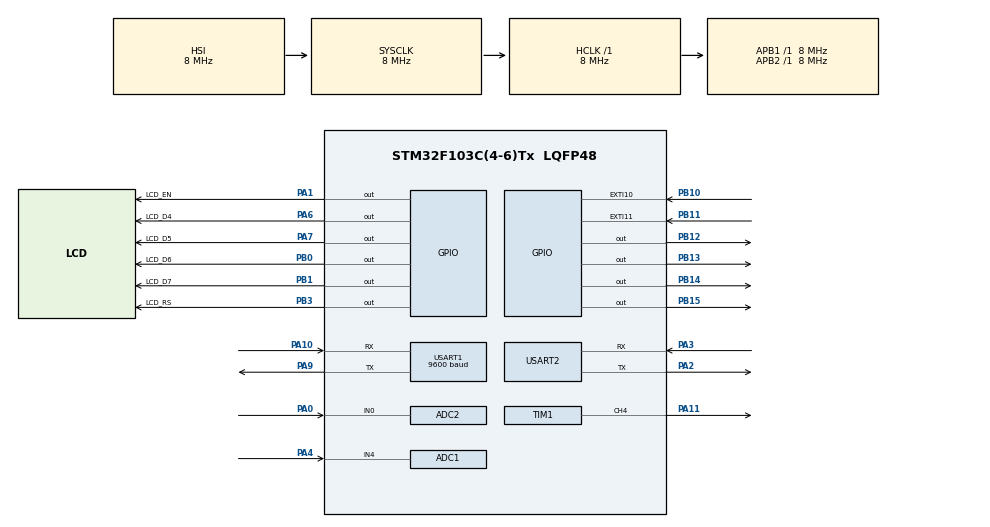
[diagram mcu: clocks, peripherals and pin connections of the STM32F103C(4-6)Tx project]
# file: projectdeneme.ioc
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ADC1.Channel-4\#ChannelRegularConversion=ADC_CHANNEL_4
ADC1.ContinuousConvMode=DISABLE
ADC1.NbrOfConversion=1
ADC1.NbrOfConversionFlag=1
ADC1.Rank-4\#ChannelRegularConversion=1
ADC1.SamplingTime-4\#ChannelRegularConversion=ADC_SAMPLETIME_1CYCLE_5
ADC1.master=1
ADC2.Channel-1\#ChannelRegularConversion=ADC_CHANNEL_0
ADC2.ContinuousConvMode=DISABLE
ADC2.NbrOfConversionFlag=1
ADC2.Rank-1\#ChannelRegularConversion=1
ADC2.SamplingTime-1\#ChannelRegularConversion=ADC_SAMPLETIME_1CYCLE_5
Dma.Request0=USART1_TX
Dma.USART1_TX.0.Direction=DMA_MEMORY_TO_PERIPH
Dma.USART1_TX.0.Instance=DMA1_Channel4
Dma.USART1_TX.0.MemDataAlignment=DMA_MDATAALIGN_BYTE
Dma.USART1_TX.0.MemInc=DMA_MINC_ENABLE
Dma.USART1_TX.0.Mode=DMA_NORMAL
Dma.USART1_TX.0.PeriphDataAlignment=DMA_PDATAALIGN_BYTE
Dma.USART1_TX.0.PeriphInc=DMA_PINC_DISABLE
Dma.USART1_TX.0.Priority=DMA_PRIORITY_LOW
Mcu.Family=STM32F1
Mcu.Name=STM32F103C(4-6)Tx
Mcu.Package=LQFP48
NVIC.ADC1_2_IRQn=true\:0\:0\:false\:false\:true\:true\:true\:true
NVIC.DMA1_Channel4_IRQn=true\:0\:0\:false\:false\:true\:false\:true\:true
NVIC.EXTI15_10_IRQn=true\:0\:0\:false\:false\:true\:true\:true\:true
NVIC.PriorityGroup=NVIC_PRIORITYGROUP_4
NVIC.TIM2_IRQn=true\:0\:0\:false\:false\:true\:true\:true\:true
NVIC.USART1_IRQn=true\:0\:0\:false\:false\:true\:true\:true\:true
NVIC.USART2_IRQn=true\:0\:0\:false\:false\:true\:true\:true\:true
PA0-WKUP.Signal=ADCx_IN0
PA1.GPIO_Label=LCD_EN
PA1.Signal=GPIO_Output
PA10.Mode=Asynchronous
PA10.Signal=USART1_RX
PA11.Signal=S_TIM1_CH4
PA13.Mode=Serial_Wire
PA13.Signal=SYS_JTMS-SWDIO
PA14.Mode=Serial_Wire
PA14.Signal=SYS_JTCK-SWCLK
PA2.Mode=Asynchronous
PA2.Signal=USART2_TX
PA3.Mode=Asynchronous
PA3.Signal=USART2_RX
PA4.Signal=ADCx_IN4
PA6.GPIO_Label=LCD_D4
PA6.Signal=GPIO_Output
PA7.GPIO_Label=LCD_D5
PA7.Signal=GPIO_Output
PA9.Mode=Asynchronous
PA9.Signal=USART1_TX
PB0.GPIO_Label=LCD_D6
PB0.Signal=GPIO_Output
PB1.GPIO_Label=LCD_D7
PB1.Signal=GPIO_Output
PB10.Signal=GPXTI10
PB11.Signal=GPXTI11
PB12.GPIO_ModeDefaultOutputPP=GPIO_MODE_OUTPUT_PP
PB12.Signal=GPIO_Output
PB13.GPIO_ModeDefaultOutputPP=GPIO_MODE_OUTPUT_PP
PB13.Signal=GPIO_Output
PB14.GPIO_ModeDefaultOutputPP=GPIO_MODE_OUTPUT_PP
PB14.Signal=GPIO_Output
PB15.GPIO_ModeDefaultOutputPP=GPIO_MODE_OUTPUT_PP
PB15.Signal=GPIO_Output
PB3.GPIO_Label=LCD_RS
PB3.Signal=GPIO_Output
PD0-OSC_IN.Mode=HSE-External-Oscillator
PD0-OSC_IN.Signal=RCC_OSC_IN
PD1-OSC_OUT.Mode=HSE-External-Oscillator
PD1-OSC_OUT.Signal=RCC_OSC_OUT
ProjectManager.HeapSize=0x200
ProjectManager.StackSize=0x400
ProjectManager.TargetToolchain=MDK-ARM V5.32
RCC.AHBFreq_Value=8000000
RCC.APB1Freq_Value=8000000
RCC.APB1TimFreq_Value=8000000
RCC.APB2Freq_Value=8000000
RCC.APB2TimFreq_Value=8000000
RCC.HCLKFreq_Value=8000000
RCC.SYSCLKFreq_VALUE=8000000
RCC.USBFreq_Value=8000000
SH.ADCx_IN0.0=ADC2_IN0,IN0
SH.ADCx_IN4.0=ADC1_IN4,IN4
SH.S_TIM1_CH4.0=TIM1_CH4,PWM Generation4 CH4
TIM1.Channel-PWM\ Generation4\ CH4=TIM_CHANNEL_4
TIM1.Period=0xFFFF
TIM1.Prescaler=21
TIM1.Pulse-PWM\ Generation4\ CH4=50
TIM2.AutoReloadPreload=TIM_AUTORELOAD_PRELOAD_ENABLE
TIM2.Period=63999
TIM2.Prescaler=124
TIM2.TIM_MasterOutputTrigger=TIM_TRGO_ENABLE
USART1.BaudRate=9600
USART1.VirtualMode=VM_ASYNC
USART2.VirtualMode=VM_ASYNC
VP_TIM1_VS_ClockSourceINT.Mode=Internal
VP_TIM2_VS_ClockSourceINT.Mode=Internal
board=custom

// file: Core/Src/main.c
/* USER CODE BEGIN Header */
/**
  ******************************************************************************
  * @file           : main.c
  * @brief          : Main program body
  ******************************************************************************
  * @attention
  *
  * Copyright (c) 2024 STMicroelectronics.
  * All rights reserved.
  *
  * This software is licensed under terms that can be found in the LICENSE file
  * in the root directory of this software component.
  * If no LICENSE file comes with this software, it is provided AS-IS.
  *
  ******************************************************************************
  */
/* USER CODE END Header */
#include "main.h"

/* USER CODE BEGIN Includes */
#include "stdlib.h"
#include <stdio.h> // sprintf komutunu kullanabilmek için
#include "LCD.h"
#include <string.h>
#include <math.h>
#include <stdbool.h>
/* USER CODE END Includes */

/* USER CODE BEGIN PTD */
uint16_t leds[] = {GPIO_PIN_12, GPIO_PIN_13, GPIO_PIN_14, GPIO_PIN_15}; //GPIO PINS THAT HAVE COLORS
/* USER CODE END PTD */

/* USER CODE BEGIN PD */

#define BUTTON_PIN GPIO_PIN_11 //PLAYER 1
#define BUTTON_PIN_2 GPIO_PIN_10 //PLAYER 2
#define TIM2_MAX_PERIOD 63999
#define POTENTIOMETER_MIN_VALUE 0
#define POTENTIOMETER_MAX_VALUE 4095
#define UART_BUFFER_SIZE 100
/* USER CODE END PD */

ADC_HandleTypeDef hadc1;
ADC_HandleTypeDef hadc2;

TIM_HandleTypeDef htim1;
TIM_HandleTypeDef htim2;

UART_HandleTypeDef huart1;
UART_HandleTypeDef huart2;
DMA_HandleTypeDef hdma_usart1_tx;

/* USER CODE BEGIN PV */
static uint16_t previous_adc_value = 0xFFFF; // TO ARRANGE MODS(EASY-NORMAL-HARD)
static uint16_t current_prescaler = 0xFFFF;
static uint32_t current_period = 0xFFFFFFFF;
/* USER CODE END PV */

void SystemClock_Config(void);
static void MX_GPIO_Init(void);
static void MX_DMA_Init(void);
static void MX_TIM2_Init(void);
static void MX_ADC1_Init(void);
static void MX_ADC2_Init(void);
static void MX_TIM1_Init(void);
static void MX_USART1_UART_Init(void);
static void MX_USART2_UART_Init(void);
/* USER CODE BEGIN PFP */

char *Game_Over = {"   Game over!!!\r\n"}; //LCD PRINT

/* USER CODE END PFP */

/* USER CODE BEGIN 0 */

char colors[4][16] = {
    "  Red   ",   // 0. eleman
    "  Purple",     // 1. eleman
    "  Green ",      // 2. eleman
    "  Blue  ",      // 3. eleman

};

bool is_array_Not_Empty(uint8_t array[], size_t size) { //TO UNDERSTAND GIVEN INPUT IS NULL
    for (size_t i = 0; i < size; i++) {
        if (array[i] != 0) {
            return true;
        }
    }
    return false;
}

	//FOR USART_DMA TRANSMISSION_AND_RECEIVE
	uint8_t USER1[10];
	uint8_t USER2[10];
	char transmitBuffer[50];
	uint8_t *Welcome_msg = {"Write name of player1.\r\n"};
	uint8_t *new_line = {"\r\n"};
	uint8_t *Welcome_msg2 = {"Write name of player2.\r\n"};
	uint8_t *No_Player={"Player names cannot be null!.\r\n"};

	//all of them for synchronization of game(score adding, subtracting,printing winner)
	int colorNumber_keeper;
	int ledNumber_keeper;
	int score;
	int score2;
	int flag;
	char score_str[20];
	char score_str2[20];
	int game_time=0;
	int temp_game_time=0;
	char *WinnerText = {" Plyr1 won:\r\n"};
	char *WinnerText2 = {" Plyr2 won:\r\n"};
	char *draw = {" Draw\r\n"};
	char *Equal = {"Scores are equal!(%d)\r\n"};
	int winnerScore;
	char winner[40];

	//FOR TEMPERATURE
	float voltage;
	float temperature;
	float temperature2;
	char yazi[32] = " ";
	int strike = 0;//TO INDICATE 3 SCORE FOR PLAYER1
	int strike2 = 0;//TO INDICATE 3 SCORE FOR PLAYER2

/* USER CODE END 0 */

int main(void)
{

  /* MCU Configuration--------------------------------------------------------*/

  /* Reset of all peripherals, Initializes the Flash interface and the Systick. */
  HAL_Init();

  /* Configure the system clock */
  SystemClock_Config();

  /* Initialize all configured peripherals */
  MX_GPIO_Init();
  MX_DMA_Init();
  MX_TIM2_Init();
  MX_ADC1_Init();
  MX_ADC2_Init();
  MX_TIM1_Init();
  MX_USART1_UART_Init();
  MX_USART2_UART_Init();
  /* USER CODE BEGIN 2 */

		//USER1 EMPTY OR NOT
		while(!is_array_Not_Empty(USER1, sizeof(USER1))){

		HAL_UART_Transmit(&huart1, No_Player, 30, 2000);
		HAL_UART_Transmit(&huart1, Welcome_msg, 25, 5000);
		HAL_UART_Receive(&huart1, (uint8_t*)USER1, 25, 5000);
		HAL_UART_Transmit(&huart1, new_line, 2, 1);

	}
	//USER1 EMPTY OR NOT
	while(!is_array_Not_Empty(USER2, sizeof(USER2))){
		HAL_UART_Transmit(&huart1, No_Player, 30, 2000);
		HAL_UART_Transmit(&huart1, Welcome_msg2, 25, 5000);
		HAL_UART_Receive(&huart1, (uint8_t*)USER2, 35, 5000);
		HAL_UART_Transmit(&huart1, new_line, 2, 1);

	}

	HAL_TIM_Base_Start_IT(&htim2);
	MX_ADC1_Init();
	HAL_ADC_Start_IT(&hadc1);
	HAL_ADC_Start_IT(&hadc2);
	lcd_init(_LCD_4BIT, _LCD_FONT_5x10, _LCD_2LINE);//LCD INIT

	//FOR BUZZER
	HAL_TIM_PWM_Start(&htim1,TIM_CHANNEL_4);
	HAL_ADCEx_Calibration_Start(&hadc2);

  /* USER CODE END 2 */

  /* Infinite loop */
  while (1)
  {

  }
}

void SystemClock_Config(void)
{
  RCC_OscInitTypeDef RCC_OscInitStruct = {0};
  RCC_ClkInitTypeDef RCC_ClkInitStruct = {0};
  RCC_PeriphCLKInitTypeDef PeriphClkInit = {0};

  /** Initializes the RCC Oscillators according to the specified parameters
  * in the RCC_OscInitTypeDef structure.
  */
  RCC_OscInitStruct.OscillatorType = RCC_OSCILLATORTYPE_HSI;
  RCC_OscInitStruct.HSIState = RCC_HSI_ON;
  RCC_OscInitStruct.HSICalibrationValue = RCC_HSICALIBRATION_DEFAULT;
  RCC_OscInitStruct.PLL.PLLState = RCC_PLL_NONE;
  if (HAL_RCC_OscConfig(&RCC_OscInitStruct) != HAL_OK)
  {
    Error_Handler();
  }

  /** Initializes the CPU, AHB and APB buses clocks
  */
  RCC_ClkInitStruct.ClockType = RCC_CLOCKTYPE_HCLK|RCC_CLOCKTYPE_SYSCLK
                              |RCC_CLOCKTYPE_PCLK1|RCC_CLOCKTYPE_PCLK2;
  RCC_ClkInitStruct.SYSCLKSource = RCC_SYSCLKSOURCE_HSI;
  RCC_ClkInitStruct.AHBCLKDivider = RCC_SYSCLK_DIV1;
  RCC_ClkInitStruct.APB1CLKDivider = RCC_HCLK_DIV1;
  RCC_ClkInitStruct.APB2CLKDivider = RCC_HCLK_DIV1;

  if (HAL_RCC_ClockConfig(&RCC_ClkInitStruct, FLASH_LATENCY_0) != HAL_OK)
  {
    Error_Handler();
  }
  PeriphClkInit.PeriphClockSelection = RCC_PERIPHCLK_ADC;
  PeriphClkInit.AdcClockSelection = RCC_ADCPCLK2_DIV2;
  if (HAL_RCCEx_PeriphCLKConfig(&PeriphClkInit) != HAL_OK)
  {
    Error_Handler();
  }
}

static void MX_ADC1_Init(void)
{

  ADC_ChannelConfTypeDef sConfig = {0};

  /** Common config
  */
  hadc1.Instance = ADC1;
  hadc1.Init.ScanConvMode = ADC_SCAN_DISABLE;
  hadc1.Init.ContinuousConvMode = DISABLE;
  hadc1.Init.DiscontinuousConvMode = DISABLE;
  hadc1.Init.ExternalTrigConv = ADC_SOFTWARE_START;
  hadc1.Init.DataAlign = ADC_DATAALIGN_RIGHT;
  hadc1.Init.NbrOfConversion = 1;
  if (HAL_ADC_Init(&hadc1) != HAL_OK)
  {
    Error_Handler();
  }

  /** Configure Regular Channel
  */
  sConfig.Channel = ADC_CHANNEL_4;
  sConfig.Rank = ADC_REGULAR_RANK_1;
  sConfig.SamplingTime = ADC_SAMPLETIME_1CYCLE_5;
  if (HAL_ADC_ConfigChannel(&hadc1, &sConfig) != HAL_OK)
  {
    Error_Handler();
  }

}

static void MX_ADC2_Init(void)
{

  ADC_ChannelConfTypeDef sConfig = {0};

  /** Common config
  */
  hadc2.Instance = ADC2;
  hadc2.Init.ScanConvMode = ADC_SCAN_DISABLE;
  hadc2.Init.ContinuousConvMode = DISABLE;
  hadc2.Init.DiscontinuousConvMode = DISABLE;
  hadc2.Init.ExternalTrigConv = ADC_SOFTWARE_START;
  hadc2.Init.DataAlign = ADC_DATAALIGN_RIGHT;
  hadc2.Init.NbrOfConversion = 1;
  if (HAL_ADC_Init(&hadc2) != HAL_OK)
  {
    Error_Handler();
  }

  /** Configure Regular Channel
  */
  sConfig.Channel = ADC_CHANNEL_0;
  sConfig.Rank = ADC_REGULAR_RANK_1;
  sConfig.SamplingTime = ADC_SAMPLETIME_1CYCLE_5;
  if (HAL_ADC_ConfigChannel(&hadc2, &sConfig) != HAL_OK)
  {
    Error_Handler();
  }

}

static void MX_TIM1_Init(void)
{

  TIM_ClockConfigTypeDef sClockSourceConfig = {0};
  TIM_MasterConfigTypeDef sMasterConfig = {0};
  TIM_OC_InitTypeDef sConfigOC = {0};
  TIM_BreakDeadTimeConfigTypeDef sBreakDeadTimeConfig = {0};

  htim1.Instance = TIM1;
  htim1.Init.Prescaler = 21;
  htim1.Init.CounterMode = TIM_COUNTERMODE_UP;
  htim1.Init.Period = 0xFFFF;
  htim1.Init.ClockDivision = TIM_CLOCKDIVISION_DIV1;
  htim1.Init.RepetitionCounter = 0;
  htim1.Init.AutoReloadPreload = TIM_AUTORELOAD_PRELOAD_DISABLE;
  if (HAL_TIM_Base_Init(&htim1) != HAL_OK)
  {
    Error_Handler();
  }
  sClockSourceConfig.ClockSource = TIM_CLOCKSOURCE_INTERNAL;
  if (HAL_TIM_ConfigClockSource(&htim1, &sClockSourceConfig) != HAL_OK)
  {
    Error_Handler();
  }
  if (HAL_TIM_PWM_Init(&htim1) != HAL_OK)
  {
    Error_Handler();
  }
  sMasterConfig.MasterOutputTrigger = TIM_TRGO_RESET;
  sMasterConfig.MasterSlaveMode = TIM_MASTERSLAVEMODE_DISABLE;
  if (HAL_TIMEx_MasterConfigSynchronization(&htim1, &sMasterConfig) != HAL_OK)
  {
    Error_Handler();
  }
  sConfigOC.OCMode = TIM_OCMODE_PWM1;
  sConfigOC.Pulse = 50;
  sConfigOC.OCPolarity = TIM_OCPOLARITY_HIGH;
  sConfigOC.OCFastMode = TIM_OCFAST_DISABLE;
  sConfigOC.OCIdleState = TIM_OCIDLESTATE_RESET;
  sConfigOC.OCNIdleState = TIM_OCNIDLESTATE_RESET;
  if (HAL_TIM_PWM_ConfigChannel(&htim1, &sConfigOC, TIM_CHANNEL_4) != HAL_OK)
  {
    Error_Handler();
  }
  sBreakDeadTimeConfig.OffStateRunMode = TIM_OSSR_DISABLE;
  sBreakDeadTimeConfig.OffStateIDLEMode = TIM_OSSI_DISABLE;
  sBreakDeadTimeConfig.LockLevel = TIM_LOCKLEVEL_OFF;
  sBreakDeadTimeConfig.DeadTime = 0;
  sBreakDeadTimeConfig.BreakState = TIM_BREAK_DISABLE;
  sBreakDeadTimeConfig.BreakPolarity = TIM_BREAKPOLARITY_HIGH;
  sBreakDeadTimeConfig.AutomaticOutput = TIM_AUTOMATICOUTPUT_DISABLE;
  if (HAL_TIMEx_ConfigBreakDeadTime(&htim1, &sBreakDeadTimeConfig) != HAL_OK)
  {
    Error_Handler();
  }
  HAL_TIM_MspPostInit(&htim1);

}

static void MX_TIM2_Init(void)
{

  TIM_ClockConfigTypeDef sClockSourceConfig = {0};
  TIM_MasterConfigTypeDef sMasterConfig = {0};

  htim2.Instance = TIM2;
  htim2.Init.Prescaler = 124;
  htim2.Init.CounterMode = TIM_COUNTERMODE_UP;
  htim2.Init.Period = 63999;
  htim2.Init.ClockDivision = TIM_CLOCKDIVISION_DIV1;
  htim2.Init.AutoReloadPreload = TIM_AUTORELOAD_PRELOAD_ENABLE;
  if (HAL_TIM_Base_Init(&htim2) != HAL_OK)
  {
    Error_Handler();
  }
  sClockSourceConfig.ClockSource = TIM_CLOCKSOURCE_INTERNAL;
  if (HAL_TIM_ConfigClockSource(&htim2, &sClockSourceConfig) != HAL_OK)
  {
    Error_Handler();
  }
  sMasterConfig.MasterOutputTrigger = TIM_TRGO_ENABLE;
  sMasterConfig.MasterSlaveMode = TIM_MASTERSLAVEMODE_DISABLE;
  if (HAL_TIMEx_MasterConfigSynchronization(&htim2, &sMasterConfig) != HAL_OK)
  {
    Error_Handler();
  }

}

static void MX_USART1_UART_Init(void)
{

  huart1.Instance = USART1;
  huart1.Init.BaudRate = 9600;
  huart1.Init.WordLength = UART_WORDLENGTH_8B;
  huart1.Init.StopBits = UART_STOPBITS_1;
  huart1.Init.Parity = UART_PARITY_NONE;
  huart1.Init.Mode = UART_MODE_TX_RX;
  huart1.Init.HwFlowCtl = UART_HWCONTROL_NONE;
  huart1.Init.OverSampling = UART_OVERSAMPLING_16;
  if (HAL_UART_Init(&huart1) != HAL_OK)
  {
    Error_Handler();
  }

}

static void MX_USART2_UART_Init(void)
{

  huart2.Instance = USART2;
  huart2.Init.BaudRate = 115200;
  huart2.Init.WordLength = UART_WORDLENGTH_8B;
  huart2.Init.StopBits = UART_STOPBITS_1;
  huart2.Init.Parity = UART_PARITY_NONE;
  huart2.Init.Mode = UART_MODE_TX_RX;
  huart2.Init.HwFlowCtl = UART_HWCONTROL_NONE;
  huart2.Init.OverSampling = UART_OVERSAMPLING_16;
  if (HAL_UART_Init(&huart2) != HAL_OK)
  {
    Error_Handler();
  }

}

static void MX_DMA_Init(void)
{

  /* DMA controller clock enable */
  __HAL_RCC_DMA1_CLK_ENABLE();

  /* DMA interrupt init */
  /* DMA1_Channel4_IRQn interrupt configuration */
  HAL_NVIC_SetPriority(DMA1_Channel4_IRQn, 0, 0);
  HAL_NVIC_EnableIRQ(DMA1_Channel4_IRQn);

}

static void MX_GPIO_Init(void)
{
  GPIO_InitTypeDef GPIO_InitStruct = {0};

  /* GPIO Ports Clock Enable */
  __HAL_RCC_GPIOD_CLK_ENABLE();
  __HAL_RCC_GPIOA_CLK_ENABLE();
  __HAL_RCC_GPIOB_CLK_ENABLE();

  /*Configure GPIO pin Output Level */
  HAL_GPIO_WritePin(GPIOA, LCD_EN_Pin|LCD_D4_Pin|LCD_D5_Pin, GPIO_PIN_RESET);

  /*Configure GPIO pin Output Level */
  HAL_GPIO_WritePin(GPIOB, LCD_D6_Pin|LCD_D7_Pin|GPIO_PIN_12|GPIO_PIN_13
                          |GPIO_PIN_14|GPIO_PIN_15|LCD_RS_Pin, GPIO_PIN_RESET);

  /*Configure GPIO pins : LCD_EN_Pin LCD_D4_Pin LCD_D5_Pin */
  GPIO_InitStruct.Pin = LCD_EN_Pin|LCD_D4_Pin|LCD_D5_Pin;
  GPIO_InitStruct.Mode = GPIO_MODE_OUTPUT_PP;
  GPIO_InitStruct.Pull = GPIO_NOPULL;
  GPIO_InitStruct.Speed = GPIO_SPEED_FREQ_LOW;
  HAL_GPIO_Init(GPIOA, &GPIO_InitStruct);

  /*Configure GPIO pins : LCD_D6_Pin LCD_D7_Pin PB12 PB13
                           PB14 PB15 LCD_RS_Pin */
  GPIO_InitStruct.Pin = LCD_D6_Pin|LCD_D7_Pin|GPIO_PIN_12|GPIO_PIN_13
                          |GPIO_PIN_14|GPIO_PIN_15|LCD_RS_Pin;
  GPIO_InitStruct.Mode = GPIO_MODE_OUTPUT_PP;
  GPIO_InitStruct.Pull = GPIO_NOPULL;
  GPIO_InitStruct.Speed = GPIO_SPEED_FREQ_LOW;
  HAL_GPIO_Init(GPIOB, &GPIO_InitStruct);

  /*Configure GPIO pins : PB10 PB11 */
  GPIO_InitStruct.Pin = GPIO_PIN_10|GPIO_PIN_11;
  GPIO_InitStruct.Mode = GPIO_MODE_IT_RISING;
  GPIO_InitStruct.Pull = GPIO_NOPULL;
  HAL_GPIO_Init(GPIOB, &GPIO_InitStruct);

  /* EXTI interrupt init*/
  HAL_NVIC_SetPriority(EXTI15_10_IRQn, 0, 0);
  HAL_NVIC_EnableIRQ(EXTI15_10_IRQn);

}

/* USER CODE BEGIN 4 */
int previousLed = -1;
int user_taken=0;
void HAL_TIM_PeriodElapsedCallback(TIM_HandleTypeDef *htim)
{

    if (htim->Instance == TIM2)
    {

				flag =0;//TO INDICATE WHEN BUTON1 OR BUTON 2 PRESSED AT 1 TIMER CLOCK. I MEAN, WHEN BUTON 1 PRESSED, BUTON 2 CANNOT GET SCORE.
        if (previousLed != -1) {
            HAL_GPIO_WritePin(GPIOB, leds[previousLed], GPIO_PIN_RESET);

        }

        int random = rand() % 4;
				int random2 = rand() % 4;

        HAL_GPIO_WritePin(GPIOB, leds[random], GPIO_PIN_SET);//RANDOMLY SELECT COLORS
				colorNumber_keeper = random2;
				ledNumber_keeper = random;

				sprintf(score_str, " %s ", colors[random2]); //WRITE COLORS PLAYER1'S SCORE AND PLAYER'S SCORE
				lcd_print(1, 1, score_str);
				sprintf(score_str, " %d ", score);
				lcd_print(2, 1, score_str);
				sprintf(score_str2, " %d ", score2);
				lcd_print(2, 6, score_str2);

        previousLed = random;

				game_time += temp_game_time; //TO INDICATE TOTAL GAME TIME. WE ADDED 60000 MS WHICH IS 1 MIN
				if(game_time==60000||(temperature==50.0 && temperature2==50.0)){//IF 1 MIN PASSED AND TEMPERATURES OF BOTH GUNS ARE REACHED 50 AND GAME
					HAL_TIM_Base_Stop_IT(&htim2); // Stop Timer 2 interrupt
					HAL_ADC_Stop_IT(&hadc1);      // Stop ADC1 interrupt
					HAL_TIM_Base_Stop_IT(&htim1);
					HAL_GPIO_WritePin(GPIOB, leds[0], GPIO_PIN_RESET);
					HAL_GPIO_WritePin(GPIOB, leds[1], GPIO_PIN_RESET);
					HAL_GPIO_WritePin(GPIOB, leds[2], GPIO_PIN_RESET);
					HAL_GPIO_WritePin(GPIOB, leds[3], GPIO_PIN_RESET);
					lcd_cmd(_CLEAR);
					lcd_print(1,1, Game_Over); // PRINT LCD GAME OVER

					if(score>score2){//IF PLAYER1 WON, DO THIS
						winnerScore=score;
						sprintf(transmitBuffer, "Winner is %s and the score is: %d\r\n", USER1,score);
						HAL_UART_Transmit_DMA(&huart1, (uint8_t*)transmitBuffer, strlen(transmitBuffer));

					}else if(score<score2){//IF PLAYER2 WON, DO THIS
						winnerScore=score2;
						sprintf(transmitBuffer, "Winner is %s and the score is: %d\r\n", USER2,score2);
						HAL_UART_Transmit_DMA(&huart1, (uint8_t*)transmitBuffer, strlen(transmitBuffer));

					}else if (score==score2){//IF SCORE1 AND SCORE2 EQUAL, DO THIS

						winnerScore=score;
						sprintf(transmitBuffer, "Draw! Scores: %d\r\n",winnerScore);
						HAL_UART_Transmit_DMA(&huart1, (uint8_t*)transmitBuffer, strlen(transmitBuffer));

					}

				}

    }

}

void HAL_GPIO_EXTI_Callback(uint16_t GPIO_Pin)
{

    if (GPIO_Pin == BUTTON_PIN && temperature<50.0)//WHEN TEMPERATURE REACHED 50C, DISABLE BUTON.
    {

			  if(ledNumber_keeper==colorNumber_keeper && flag==0){//IF COLOR NUMBER AND COLOR KEEPER IS SAME AND NOBODY CLICKED BUTTONS.
				score++;
			  strike++;
				flag=1;//WHEN BUTON1 PRESSED, FLAG IS 1. CANNOT INCREASE THE SCORE UNTIL NEXT CLOCK TIME.
					if(strike==3){//IF PLAYER 1 GOT 3 SCORE CONSECUTIVE, DECREASE TEMPERATURE BY -10.
						temperature-=10;
						strike =0;
						snprintf(yazi, sizeof(yazi), "Gun_1 temp decreased:%.2fC\r\n", temperature);
						HAL_UART_Transmit_DMA(&huart1, (uint8_t*)yazi, strlen(yazi));
					}

				}else if(!(ledNumber_keeper==colorNumber_keeper) && flag==0){//IF DOESNT MATCH, DECREASE SCORE. INCREASE TEMPERATURE BT 10.
					score--;
					strike=0;
					temperature+=10;
					flag=1;
					snprintf(yazi, sizeof(yazi), "Gun_1 temp increased:%.2fC\r\n", temperature);
					HAL_UART_Transmit_DMA(&huart1, (uint8_t*)yazi, strlen(yazi));

				}
    }
		if (GPIO_Pin == BUTTON_PIN_2 && temperature2<50.0)//WHEN TEMPERATURE REACHED 50C, DISABLE BUTON.
    {

			  if(ledNumber_keeper==colorNumber_keeper && flag==0){//IF COLOR NUMBER AND COLOR KEEPER IS SAME AND NOBODY CLICKED BUTTONS.
				score2++;
				flag=1;//WHEN BUTON1 PRESSED, FLAG IS 1. CANNOT INCREASE THE SCORE UNTIL NEXT CLOCK TIME.
				strike2++;
					if(strike2==3){//IF PLAYER 2 GOT 3 SCORE CONSECUTIVE, DECREASE TEMPERATURE BY -10.
						temperature2-=10;
						strike2 =0;
						snprintf(yazi, sizeof(yazi), "Gun_2 temp decreased:%.2fC\r\n", temperature2);
						HAL_UART_Transmit_DMA(&huart1, (uint8_t*)yazi, strlen(yazi));
					}
				}else if(!(ledNumber_keeper==colorNumber_keeper)&& flag==0){//IF DOESNT MATCH, DECREASE SCORE. INCREASE TEMPERATURE BT 10.
					score2--;
					strike2=0;
					temperature2+=10;
					flag=1;
					snprintf(yazi, sizeof(yazi), "Gun_2 temp increased:%.2fC\r\n", temperature2);
					HAL_UART_Transmit_DMA(&huart1, (uint8_t*)yazi, strlen(yazi));
				}
    }

}

void HAL_ADC_ConvCpltCallback(ADC_HandleTypeDef* hadc) {

		//THESE ARE TO INDICATE VOLTAGES(EASY-NORMAL-HARD)
    uint16_t adc_value = 0;
    adc_value = HAL_ADC_GetValue(hadc);
    uint16_t new_prescaler;
    uint32_t new_period;
    // Determine new prescaler and period values ??according to ADC value
    if (adc_value < 0x555) { // If ADC value is below 1.1 V
        new_prescaler = 159;//1.250 secods
        new_period = 62499;
				game_time=1250;
				temp_game_time=1250;
    } else if (adc_value < 0x6C2) { // If ADC value is below 2.2 V
        new_prescaler = 191; //1.5 second
        new_period = 62499;
			  game_time=1500;
			temp_game_time=1500;
    } else { //
        new_prescaler = 249;//2 second
        new_period = 63999;
				game_time=2000;
			temp_game_time=2000;
    }

    if (new_prescaler != current_prescaler || new_period != current_period) {
        htim2.Init.Prescaler = new_prescaler;
        htim2.Init.Period = new_period;

        HAL_TIM_Base_Stop(&htim2);

        if (HAL_TIM_Base_Init(&htim2) != HAL_OK) {

        }

        if (HAL_TIM_Base_Start(&htim2) != HAL_OK) {

        }

        current_prescaler = new_prescaler;
        current_period = new_period;
    }

    // Update previous ADC value
    previous_adc_value = adc_value;

		if (hadc->Instance == ADC2) {
        voltage = (HAL_ADC_GetValue(hadc) * 3.3) / 4096.0;  // Convert ADC value to volts
        temperature = voltage * 100.0; //	Convert voltage to temperature
				temperature2=temperature;
        snprintf(yazi, sizeof(yazi), "Gun temperature is: %.2f C\n\r", temperature);

				HAL_UART_Transmit_DMA(&huart1, (uint8_t*)yazi, strlen(yazi));
    }
}

/* USER CODE END 4 */

void Error_Handler(void)
{
  __disable_irq();
  while (1)
  {
  }
}
